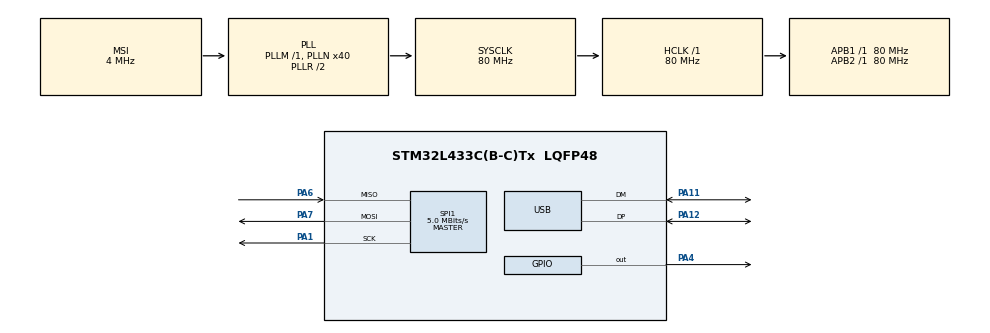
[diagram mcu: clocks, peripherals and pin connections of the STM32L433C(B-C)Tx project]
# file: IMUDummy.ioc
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Mcu.Family=STM32L4
Mcu.Name=STM32L433C(B-C)Tx
Mcu.Package=LQFP48
NVIC.PriorityGroup=NVIC_PRIORITYGROUP_4
NVIC.SPI1_IRQn=true\:0\:0\:false\:false\:true\:true\:true
NVIC.USB_IRQn=true\:0\:0\:false\:false\:true\:false\:true
PA1.Mode=Full_Duplex_Master
PA1.Signal=SPI1_SCK
PA11.Mode=Device
PA11.Signal=USB_DM
PA12.Mode=Device
PA12.Signal=USB_DP
PA13\ (JTMS-SWDIO).Mode=Serial_Wire
PA13\ (JTMS-SWDIO).Signal=SYS_JTMS-SWDIO
PA14\ (JTCK-SWCLK).Mode=Serial_Wire
PA14\ (JTCK-SWCLK).Signal=SYS_JTCK-SWCLK
PA4.Signal=GPIO_Output
PA6.Mode=Full_Duplex_Master
PA6.Signal=SPI1_MISO
PA7.Mode=Full_Duplex_Master
PA7.Signal=SPI1_MOSI
ProjectManager.HeapSize=0x200
ProjectManager.StackSize=0x400
ProjectManager.TargetToolchain=STM32CubeIDE
RCC.ADCFreq_Value=48000000
RCC.AHBFreq_Value=80000000
RCC.APB1Freq_Value=80000000
RCC.APB1TimFreq_Value=80000000
RCC.APB2Freq_Value=80000000
RCC.APB2TimFreq_Value=80000000
RCC.CortexFreq_Value=80000000
RCC.HCLKFreq_Value=80000000
RCC.HSE_VALUE=8000000
RCC.HSI48_VALUE=48000000
RCC.HSI_VALUE=16000000
RCC.LSE_VALUE=32768
RCC.MSI_VALUE=4000000
RCC.PLLN=40
RCC.PLLSAI1N=24
RCC.SYSCLKFreq_VALUE=80000000
RCC.SYSCLKSource=RCC_SYSCLKSOURCE_PLLCLK
RCC.USBFreq_Value=48000000
RCC.VCOOutputFreq_Value=160000000
SPI1.BaudRatePrescaler=SPI_BAUDRATEPRESCALER_16
SPI1.CLKPhase=SPI_PHASE_1EDGE
SPI1.CLKPolarity=SPI_POLARITY_LOW
SPI1.CRCCalculation=SPI_CRCCALCULATION_DISABLE
SPI1.CalculateBaudRate=5.0 MBits/s
SPI1.DataSize=SPI_DATASIZE_8BIT
SPI1.Direction=SPI_DIRECTION_2LINES
SPI1.Mode=SPI_MODE_MASTER
SPI1.NSSPMode=SPI_NSS_PULSE_ENABLE
SPI1.TIMode=SPI_TIMODE_DISABLE
SPI1.VirtualType=VM_MASTER
USB_DEVICE.CLASS_NAME_FS=CDC
USB_DEVICE.VirtualMode=Cdc
USB_DEVICE.VirtualModeFS=Cdc_FS
VP_USB_DEVICE_VS_USB_DEVICE_CDC_FS.Mode=CDC_FS
board=custom

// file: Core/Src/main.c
/* USER CODE BEGIN Header */
/**
 ******************************************************************************
 * @file           : main.c
 * @brief          : Main program body
 ******************************************************************************
 * @attention
 *
 * <h2><center>&copy; Copyright (c) 2020 STMicroelectronics.
 * All rights reserved.</center></h2>
 *
 * This software component is licensed by ST under BSD 3-Clause license,
 * the "License"; You may not use this file except in compliance with the
 * License. You may obtain a copy of the License at:
 *                        opensource.org/licenses/BSD-3-Clause
 *
 ******************************************************************************
 */
/* USER CODE END Header */

#include "main.h"
#include "usb_device.h"

/* USER CODE BEGIN Includes */
#include "usbd_cdc_if.h"
#include "task_imu_read.h"
/* used for USB printing */
#include <string.h>
#include <stdio.h>
#include <stdarg.h>
/* USER CODE END Includes */

SPI_HandleTypeDef hspi1;

void SystemClock_Config(void);
static void MX_GPIO_Init(void);
static void MX_SPI1_Init(void);

int main(void)
{

  /* MCU Configuration--------------------------------------------------------*/

  /* Reset of all peripherals, Initializes the Flash interface and the Systick. */
  HAL_Init();

  /* Configure the system clock */
  SystemClock_Config();

  /* Initialize all configured peripherals */
  MX_GPIO_Init();
  MX_SPI1_Init();
  MX_USB_DEVICE_Init();

  /* Infinite loop */
  /* USER CODE BEGIN WHILE */
	uint8_t configured = 0;
	while (1)
	{
    /* USER CODE END WHILE */

    /* USER CODE BEGIN 3 */
		//UsbPrint("Tx: %x; Rx: %x\n", powermanagmentread[0],  powermanagmentreadrx[0]);

		uint8_t register_sensor_powerMgmt1[2] = { 0 };
		register_sensor_powerMgmt1[0] = IMU20601_COMMAND_POWER_MANAGMENT1_WRITE;
		register_sensor_powerMgmt1[1] =
				(reset_conf << 7 | SENS_sleep_EN << 6 | SENS_clk_src << 0);

		/* Write Register */

		HAL_GPIO_WritePin(GPIOA, GPIO_PIN_4, GPIO_PIN_RESET);
		HAL_SPI_Transmit(&hspi1, register_sensor_powerMgmt1,
				IMU20601_COMMAND_LENGTH, IMU20601_SPI_TIMEOUT);
		HAL_GPIO_WritePin(GPIOA, GPIO_PIN_4, GPIO_PIN_SET);
		HAL_Delay(1);

		/* Wake Up Chip */
		register_sensor_powerMgmt1[1] =
				(SENS_sleep_EN << 6 | SENS_clk_src << 0);

		/* Write Register */

		HAL_GPIO_WritePin(GPIOA, GPIO_PIN_4, GPIO_PIN_RESET);
		HAL_SPI_Transmit(&hspi1, register_sensor_powerMgmt1,
				IMU20601_COMMAND_LENGTH, IMU20601_SPI_TIMEOUT);
		HAL_GPIO_WritePin(GPIOA, GPIO_PIN_4, GPIO_PIN_SET);
		HAL_Delay(1);
		/* Read Register */

		uint8_t tx = 0xEB;
		volatile uint8_t rx = 0;
		HAL_GPIO_WritePin(GPIOA, GPIO_PIN_4, GPIO_PIN_RESET);
		HAL_SPI_Transmit(&hspi1, &tx, 1, IMU20601_SPI_TIMEOUT);
		HAL_SPI_Receive(&hspi1, &rx, 1, IMU20601_SPI_TIMEOUT);
		HAL_GPIO_WritePin(GPIOA, GPIO_PIN_4, GPIO_PIN_SET);
		HAL_Delay(1);

//		/* Disable I2C Mode */
		uint8_t register_sensor_control[2] = { 0 };
//		register_sensor_control[0] = IMU20601_COMMAND_USER_CONTROL_WRITE;
//		register_sensor_control[1] = (SENS_FIFO_EN << 6 | I2C_DISABLE << 4 | 1);
//
//		/* Write Register */
//
//		HAL_GPIO_WritePin(GPIOA, GPIO_PIN_4, GPIO_PIN_RESET);
//		HAL_SPI_Transmit(&hspi1, register_sensor_control,
//				IMU20601_COMMAND_LENGTH, IMU20601_SPI_TIMEOUT);
//		HAL_GPIO_WritePin(GPIOA, GPIO_PIN_4, GPIO_PIN_SET);
//
//		/* Read Register */
//
//		tx = 0xEA;
//		rx = 0;
//		HAL_GPIO_WritePin(GPIOA, GPIO_PIN_4, GPIO_PIN_RESET);
//		HAL_SPI_Transmit(&hspi1, &tx,
//				1, IMU20601_SPI_TIMEOUT);
//		HAL_SPI_Receive(&hspi1, &rx,
//				1, IMU20601_SPI_TIMEOUT);
//		HAL_GPIO_WritePin(GPIOA, GPIO_PIN_4, GPIO_PIN_SET);
//
//		/* Configure Gyroscope */
//		uint8_t register_gyro_config[2] = { 0 };
//		register_gyro_config[0] = IMU20601_COMMAND_GYROSCOPE_CONFIGURATION_WRITE;
//		register_gyro_config[1] = (GYRO_SELFTEST << 5 | GYRO_RANGE << 3
//				| GYRO_FILTER);
//
//		/* Write Register */
//
//		HAL_GPIO_WritePin(GPIOA, GPIO_PIN_4, GPIO_PIN_RESET);
//		HAL_SPI_Transmit(&hspi1, register_gyro_config,
//				IMU20601_COMMAND_LENGTH, IMU20601_SPI_TIMEOUT);
//		HAL_GPIO_WritePin(GPIOA, GPIO_PIN_4, GPIO_PIN_SET);
//
//		/* Read Register */
//
//		tx = 0x9B;
//		rx = 0;
//		HAL_GPIO_WritePin(GPIOA, GPIO_PIN_4, GPIO_PIN_RESET);
//		HAL_SPI_Transmit(&hspi1, &tx,
//				1, IMU20601_SPI_TIMEOUT);
//		HAL_SPI_Receive(&hspi1, &rx,
//				1, IMU20601_SPI_TIMEOUT);
//		HAL_GPIO_WritePin(GPIOA, GPIO_PIN_4, GPIO_PIN_SET);
//
//		/* Configure Accelerometer */
//		uint8_t register_acc_config[2] = { 0 };
//		register_acc_config[0] = IMU20601_COMMAND_ACCELEROMETER_CONFIGURATION1_WRITE;
//		register_acc_config[1] = (ACC_SELFTEST << 5 | ACC_RANGE << 3);
//		uint8_t register_acc_config2[2] = { 0 };
//		register_acc_config2[0] = IMU20601_COMMAND_ACCELEROMETER_CONFIGURATION2_WRITE;
//		register_acc_config2[1] = (ACC_AVGFILTER << 3 | ACC_FILTER);
//
//		/* Write Register */
//
//		HAL_GPIO_WritePin(GPIOA, GPIO_PIN_4, GPIO_PIN_RESET);
//		HAL_SPI_Transmit(&hspi1, register_acc_config,
//				IMU20601_COMMAND_LENGTH, IMU20601_SPI_TIMEOUT);
//		HAL_GPIO_WritePin(GPIOA, GPIO_PIN_4, GPIO_PIN_SET);
//
//		/* Write Register */
//
//		HAL_GPIO_WritePin(GPIOA, GPIO_PIN_4, GPIO_PIN_RESET);
//		HAL_SPI_Transmit(&hspi1, register_acc_config2,
//				IMU20601_COMMAND_LENGTH, IMU20601_SPI_TIMEOUT);
//		HAL_GPIO_WritePin(GPIOA, GPIO_PIN_4, GPIO_PIN_SET);
//
//		/* Read Register */
//
//		tx = 0x9C;
//		rx = 0;
//		HAL_GPIO_WritePin(GPIOA, GPIO_PIN_4, GPIO_PIN_RESET);
//		HAL_SPI_Transmit(&hspi1, &tx,
//				1, IMU20601_SPI_TIMEOUT);
//		HAL_SPI_Receive(&hspi1, &rx,
//				1, IMU20601_SPI_TIMEOUT);
//		HAL_GPIO_WritePin(GPIOA, GPIO_PIN_4, GPIO_PIN_SET);
//
//		/* Read Register */
//
//		tx = 0x9D;
//		rx = 0;
//		HAL_GPIO_WritePin(GPIOA, GPIO_PIN_4, GPIO_PIN_RESET);
//		HAL_SPI_Transmit(&hspi1, &tx,
//				1, IMU20601_SPI_TIMEOUT);
//		HAL_SPI_Receive(&hspi1, &rx,
//				1, IMU20601_SPI_TIMEOUT);
//		HAL_GPIO_WritePin(GPIOA, GPIO_PIN_4, GPIO_PIN_SET);
//
//		/* FIFO disable */
//		uint8_t register_FIFO[2] = { 0 };
//		register_FIFO[0] = IMU20601_COMMAND_FIFO_ENABLE_WRITE;
//		register_FIFO[1] = (GYRO_FIFO_EN << 4 | ACC_FIFO_EN << 3);
//
//		/* Write Register */
//
//		HAL_GPIO_WritePin(GPIOA, GPIO_PIN_4, GPIO_PIN_RESET);
//		HAL_SPI_Transmit(&hspi1, register_FIFO,
//				IMU20601_COMMAND_LENGTH,
//				IMU20601_SPI_TIMEOUT);
//		HAL_GPIO_WritePin(GPIOA, GPIO_PIN_4, GPIO_PIN_SET);
//
//		/* Read Register */
//
//		tx = 0xA3;
//		rx = 0;
//		HAL_GPIO_WritePin(GPIOA, GPIO_PIN_4, GPIO_PIN_RESET);
//		HAL_SPI_Transmit(&hspi1, &tx,
//				1, IMU20601_SPI_TIMEOUT);
//		HAL_SPI_Receive(&hspi1, &rx,
//				1, IMU20601_SPI_TIMEOUT);
//		HAL_GPIO_WritePin(GPIOA, GPIO_PIN_4, GPIO_PIN_SET);
//
//
//		/* sensor management 2 */
//		uint8_t register_sensor_powerMgmt2[2] = { 0 };
//		register_sensor_powerMgmt2[0] = IMU20601_COMMAND_POWER_MANAGMENT2_WRITE;
//		register_sensor_powerMgmt2[1] = (SENS_acc_axis_EN << 3
//				| SENS_gyri_axis_EN << 0);
//
//		/* Write Register */
//
//		HAL_GPIO_WritePin(GPIOA, GPIO_PIN_4, GPIO_PIN_RESET);
//		HAL_SPI_Transmit(&hspi1, register_sensor_powerMgmt2,
//				IMU20601_COMMAND_LENGTH, IMU20601_SPI_TIMEOUT);
//		HAL_GPIO_WritePin(GPIOA, GPIO_PIN_4, GPIO_PIN_SET);
//
//		/* Read Register */
//
//		tx = 0xEC;
//		rx = 0;
//		HAL_GPIO_WritePin(GPIOA, GPIO_PIN_4, GPIO_PIN_RESET);
//		HAL_SPI_Transmit(&hspi1, &tx,
//				1, IMU20601_SPI_TIMEOUT);
//		HAL_SPI_Receive(&hspi1, &rx,
//				1, IMU20601_SPI_TIMEOUT);
//		HAL_GPIO_WritePin(GPIOA, GPIO_PIN_4, GPIO_PIN_SET);
//
//		uint8_t commandaccread = IMU20601_COMMAND_GYRO_READ;
//		uint8_t commandaccread2 = IMU20601_COMMAND_GYRO_READ + 1;
//		volatile uint8_t read = 0;
//		volatile uint8_t read2 = 0;
//		HAL_GPIO_WritePin(GPIOA, GPIO_PIN_4, GPIO_PIN_RESET);
//		HAL_SPI_Transmit(&hspi1, &commandaccread, 1, IMU20601_SPI_TIMEOUT);
//		HAL_SPI_Receive(&hspi1, &read, 1, IMU20601_SPI_TIMEOUT);
//		HAL_GPIO_WritePin(GPIOA, GPIO_PIN_4, GPIO_PIN_SET);
//
//		HAL_GPIO_WritePin(GPIOA, GPIO_PIN_4, GPIO_PIN_RESET);
//		HAL_SPI_Transmit(&hspi1, &commandaccread2, 1, IMU20601_SPI_TIMEOUT);
//		HAL_SPI_Receive(&hspi1, &read2, 1, IMU20601_SPI_TIMEOUT);
//		HAL_GPIO_WritePin(GPIOA, GPIO_PIN_4, GPIO_PIN_SET);

	}
  /* USER CODE END 3 */
}

void SystemClock_Config(void)
{
  RCC_OscInitTypeDef RCC_OscInitStruct = {0};
  RCC_ClkInitTypeDef RCC_ClkInitStruct = {0};
  RCC_PeriphCLKInitTypeDef PeriphClkInit = {0};

  /** Initializes the CPU, AHB and APB busses clocks
  */
  RCC_OscInitStruct.OscillatorType = RCC_OSCILLATORTYPE_MSI;
  RCC_OscInitStruct.MSIState = RCC_MSI_ON;
  RCC_OscInitStruct.MSICalibrationValue = 0;
  RCC_OscInitStruct.MSIClockRange = RCC_MSIRANGE_6;
  RCC_OscInitStruct.PLL.PLLState = RCC_PLL_ON;
  RCC_OscInitStruct.PLL.PLLSource = RCC_PLLSOURCE_MSI;
  RCC_OscInitStruct.PLL.PLLM = 1;
  RCC_OscInitStruct.PLL.PLLN = 40;
  RCC_OscInitStruct.PLL.PLLP = RCC_PLLP_DIV7;
  RCC_OscInitStruct.PLL.PLLQ = RCC_PLLQ_DIV2;
  RCC_OscInitStruct.PLL.PLLR = RCC_PLLR_DIV2;
  if (HAL_RCC_OscConfig(&RCC_OscInitStruct) != HAL_OK)
  {
    Error_Handler();
  }
  /** Initializes the CPU, AHB and APB busses clocks
  */
  RCC_ClkInitStruct.ClockType = RCC_CLOCKTYPE_HCLK|RCC_CLOCKTYPE_SYSCLK
                              |RCC_CLOCKTYPE_PCLK1|RCC_CLOCKTYPE_PCLK2;
  RCC_ClkInitStruct.SYSCLKSource = RCC_SYSCLKSOURCE_PLLCLK;
  RCC_ClkInitStruct.AHBCLKDivider = RCC_SYSCLK_DIV1;
  RCC_ClkInitStruct.APB1CLKDivider = RCC_HCLK_DIV1;
  RCC_ClkInitStruct.APB2CLKDivider = RCC_HCLK_DIV1;

  if (HAL_RCC_ClockConfig(&RCC_ClkInitStruct, FLASH_LATENCY_4) != HAL_OK)
  {
    Error_Handler();
  }
  PeriphClkInit.PeriphClockSelection = RCC_PERIPHCLK_USB;
  PeriphClkInit.UsbClockSelection = RCC_USBCLKSOURCE_PLLSAI1;
  PeriphClkInit.PLLSAI1.PLLSAI1Source = RCC_PLLSOURCE_MSI;
  PeriphClkInit.PLLSAI1.PLLSAI1M = 1;
  PeriphClkInit.PLLSAI1.PLLSAI1N = 24;
  PeriphClkInit.PLLSAI1.PLLSAI1P = RCC_PLLP_DIV7;
  PeriphClkInit.PLLSAI1.PLLSAI1Q = RCC_PLLQ_DIV2;
  PeriphClkInit.PLLSAI1.PLLSAI1R = RCC_PLLR_DIV2;
  PeriphClkInit.PLLSAI1.PLLSAI1ClockOut = RCC_PLLSAI1_48M2CLK;
  if (HAL_RCCEx_PeriphCLKConfig(&PeriphClkInit) != HAL_OK)
  {
    Error_Handler();
  }
  /** Configure the main internal regulator output voltage
  */
  if (HAL_PWREx_ControlVoltageScaling(PWR_REGULATOR_VOLTAGE_SCALE1) != HAL_OK)
  {
    Error_Handler();
  }
}

static void MX_SPI1_Init(void)
{

  /* USER CODE BEGIN SPI1_Init 0 */
//	GPIO_InitTypeDef GPIO_InitStruct;
//	/* configure pins used by SPI1
//	 * PA1 = SCK
//	 * PA6 = MISO
//	 * PA7 = MOSI
//	 */
//	GPIO_InitStruct.Pin = GPIO_PIN_7 | GPIO_PIN_6 | GPIO_PIN_1;
//	GPIO_InitStruct.Mode = GPIO_MODE_AF_PP;
//	GPIO_InitStruct.Pull = GPIO_NOPULL;
//	GPIO_InitStruct.Speed = GPIO_SPEED_FREQ_VERY_HIGH;
//	GPIO_InitStruct.Alternate = GPIO_AF5_SPI1;
//	HAL_GPIO_Init(GPIOA, &GPIO_InitStruct);

  /* USER CODE END SPI1_Init 0 */

  /* SPI1 parameter configuration*/
  hspi1.Instance = SPI1;
  hspi1.Init.Mode = SPI_MODE_MASTER;
  hspi1.Init.Direction = SPI_DIRECTION_2LINES;
  hspi1.Init.DataSize = SPI_DATASIZE_8BIT;
  hspi1.Init.CLKPolarity = SPI_POLARITY_LOW;
  hspi1.Init.CLKPhase = SPI_PHASE_1EDGE;
  hspi1.Init.NSS = SPI_NSS_SOFT;
  hspi1.Init.BaudRatePrescaler = SPI_BAUDRATEPRESCALER_16;
  hspi1.Init.FirstBit = SPI_FIRSTBIT_MSB;
  hspi1.Init.TIMode = SPI_TIMODE_DISABLE;
  hspi1.Init.CRCCalculation = SPI_CRCCALCULATION_DISABLE;
  hspi1.Init.CRCPolynomial = 7;
  hspi1.Init.CRCLength = SPI_CRC_LENGTH_DATASIZE;
  hspi1.Init.NSSPMode = SPI_NSS_PULSE_ENABLE;
  if (HAL_SPI_Init(&hspi1) != HAL_OK)
  {
    Error_Handler();
  }

}

static void MX_GPIO_Init(void)
{
  GPIO_InitTypeDef GPIO_InitStruct = {0};

  /* GPIO Ports Clock Enable */
  __HAL_RCC_GPIOA_CLK_ENABLE();

  /*Configure GPIO pin Output Level */
  HAL_GPIO_WritePin(GPIOA, GPIO_PIN_4, GPIO_PIN_RESET);

  /*Configure GPIO pin : PA4 */
  GPIO_InitStruct.Pin = GPIO_PIN_4;
  GPIO_InitStruct.Mode = GPIO_MODE_OUTPUT_PP;
  GPIO_InitStruct.Pull = GPIO_NOPULL;
  GPIO_InitStruct.Speed = GPIO_SPEED_FREQ_LOW;
  HAL_GPIO_Init(GPIOA, &GPIO_InitStruct);

}

/* USER CODE BEGIN 4 */
void UsbPrint(const char *format, ...) {
	int PRINT_BUFFER_LEN = 200;
	char print_buffer[PRINT_BUFFER_LEN];
	va_list argptr;
	va_start(argptr, format);
	vsnprintf(print_buffer, PRINT_BUFFER_LEN, format, argptr);
	va_end(argptr);
	CDC_Transmit_FS((uint8_t*) print_buffer, strlen(print_buffer));
}

/* USER CODE END 4 */

void Error_Handler(void)
{
}

/************************ (C) COPYRIGHT STMicroelectronics *****END OF FILE****/
